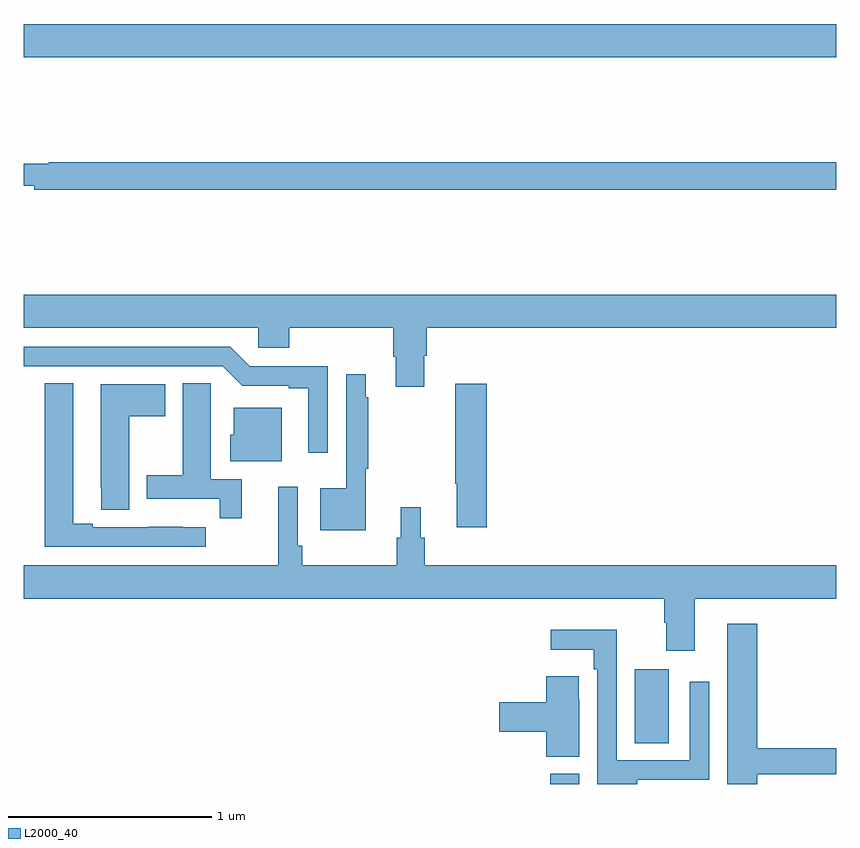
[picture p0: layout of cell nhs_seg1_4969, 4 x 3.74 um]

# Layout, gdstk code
import gdstk
lib = gdstk.Library(unit=1e-6, precision=1e-09)
def R(c, l, rs):  # rectangles x0, y0, x1, y1
    for r in rs: c.add(gdstk.rectangle(r[:2], r[2:], *l))
def P(c, l, *ps):  # polygons
    for p in ps: c.add(gdstk.Polygon(p, *l))
L2000_40 = (2000, 40)

nhs_seg1_4969 = lib.new_cell('nhs_seg1_4969')
R(nhs_seg1_4969, L2000_40, [(383.591,504.199,383.734,504.249), (384.008,504.4,384.175,504.763), (381,507.776,385,507.94)])
P(nhs_seg1_4969, L2000_40, [(385,507.26),(381.124,507.26),(381.124,507.253),(381,507.253),(381,507.143),(381.052,507.143),(381.052,507.124),(385,507.124)],
  [(382.972,506.307),(382.985,506.307),(382.985,506.444),(385,506.444),(385,506.608),(381,506.608),(381,506.444),(382.155,506.444),(382.155,506.346),(382.307,506.346),(382.307,506.444),(382.82,506.444),(382.82,506.302),(382.832,506.302),(382.832,506.154),(382.972,506.154)],
  [(382.497,506.256),(382.113,506.256),(382.017,506.352),(381,506.352),(381,506.256),(381.981,506.256),(382.077,506.16),(382.304,506.16),(382.304,506.148),(382.4,506.148),(382.4,505.83),(382.497,505.83)],
  [(382.684,505.75),(382.696,505.75),(382.696,506.102),(382.684,506.102),(382.684,506.215),(382.587,506.215),(382.587,505.654),(382.46,505.654),(382.46,505.448),(382.684,505.448)],
  [(381.895,505.464),(381.782,505.464),(381.782,505.465),(381.616,505.465),(381.616,505.464),(381.34,505.464),(381.34,505.479),(381.244,505.479),(381.244,506.171),(381.104,506.171),(381.104,505.368),(381.895,505.368)],
  [(382.073,505.698),(381.922,505.698),(381.922,506.06),(381.921,506.06),(381.921,506.171),(381.782,506.171),(381.782,505.719),(381.605,505.719),(381.605,505.602),(381.964,505.602),(381.964,505.506),(382.073,505.506)],
  [(383.279,506.17),(383.125,506.17),(383.125,505.676),(383.132,505.676),(383.132,505.464),(383.279,505.464)],
  [(381.52,506.008),(381.697,506.008),(381.697,506.167),(381.38,506.167),(381.38,505.657),(381.381,505.657),(381.381,505.549),(381.52,505.549)],
  [(382.27,506.05),(382.034,506.05),(382.034,505.917),(382.016,505.917),(382.016,505.787),(382.27,505.787)],
  [(384.304,505.112),(385,505.112),(385,505.276),(382.973,505.276),(382.973,505.41),(382.954,505.41),(382.954,505.561),(382.856,505.561),(382.856,505.41),(382.837,505.41),(382.837,505.276),(382.37,505.276),(382.37,505.372),(382.35,505.372),(382.35,505.663),(382.253,505.663),(382.253,505.276),(381,505.276),(381,505.112),(384.152,505.112),(384.152,504.992),(384.164,504.992),(384.164,504.855),(384.304,504.855)],
  [(384.611,504.246),(385,504.246),(385,504.374),(384.611,504.374),(384.611,504.988),(384.464,504.988),(384.464,504.199),(384.611,504.199)],
  [(384.019,504.219),(384.375,504.219),(384.375,504.703),(384.279,504.703),(384.279,504.315),(383.919,504.315),(383.919,504.958),(383.595,504.958),(383.595,504.86),(383.807,504.86),(383.807,504.764),(383.823,504.764),(383.823,504.199),(384.019,504.199)],
  [(383.734,504.617),(383.733,504.617),(383.733,504.73),(383.573,504.73),(383.573,504.602),(383.34,504.602),(383.34,504.455),(383.573,504.455),(383.573,504.334),(383.734,504.334)])

lib.write_gds('nhs_seg1_4969.gds')
